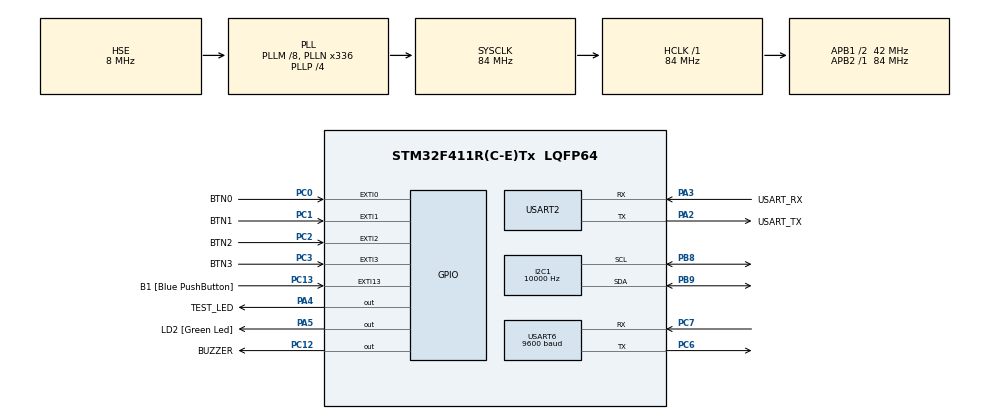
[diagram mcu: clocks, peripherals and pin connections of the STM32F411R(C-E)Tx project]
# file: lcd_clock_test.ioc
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I2C1.ClockSpeed=10000
Mcu.Family=STM32F4
Mcu.Name=STM32F411R(C-E)Tx
Mcu.Package=LQFP64
NVIC.EXTI0_IRQn=true\:0\:0\:true\:false\:true\:true\:true\:true
NVIC.EXTI1_IRQn=true\:0\:0\:true\:false\:true\:true\:true\:true
NVIC.EXTI2_IRQn=true\:0\:0\:true\:false\:true\:true\:true\:true
NVIC.EXTI3_IRQn=true\:0\:0\:true\:false\:true\:true\:true\:true
NVIC.PriorityGroup=NVIC_PRIORITYGROUP_0
NVIC.TIM3_IRQn=true\:0\:0\:true\:false\:true\:true\:true\:true
NVIC.USART6_IRQn=true\:0\:0\:false\:false\:true\:true\:true\:true
PA13.GPIO_Label=TMS
PA13.Mode=Serial_Wire
PA13.Signal=SYS_JTMS-SWDIO
PA14.GPIO_Label=TCK
PA14.Mode=Serial_Wire
PA14.Signal=SYS_JTCK-SWCLK
PA2.GPIO_Label=USART_TX
PA2.Mode=Asynchronous
PA2.Signal=USART2_TX
PA3.GPIO_Label=USART_RX
PA3.Mode=Asynchronous
PA3.Signal=USART2_RX
PA4.GPIO_Label=TEST_LED
PA4.Signal=GPIO_Output
PA5.GPIO_Label=LD2 [Green Led]
PA5.Signal=GPIO_Output
PB3.GPIO_Label=SWO
PB3.Signal=SYS_JTDO-SWO
PB8.Mode=I2C
PB8.Signal=I2C1_SCL
PB9.Mode=I2C
PB9.Signal=I2C1_SDA
PC0.GPIO_Label=BTN0
PC0.GPIO_PuPd=GPIO_PULLDOWN
PC0.Signal=GPXTI0
PC1.GPIO_Label=BTN1
PC1.GPIO_PuPd=GPIO_PULLDOWN
PC1.Signal=GPXTI1
PC12.GPIO_Label=BUZZER
PC12.Signal=GPIO_Output
PC13-ANTI_TAMP.GPIO_Label=B1 [Blue PushButton]
PC13-ANTI_TAMP.GPIO_ModeDefaultEXTI=GPIO_MODE_IT_FALLING
PC13-ANTI_TAMP.Signal=GPXTI13
PC14-OSC32_IN.Mode=LSE-External-Oscillator
PC14-OSC32_IN.Signal=RCC_OSC32_IN
PC15-OSC32_OUT.Mode=LSE-External-Oscillator
PC15-OSC32_OUT.Signal=RCC_OSC32_OUT
PC2.GPIO_Label=BTN2
PC2.GPIO_PuPd=GPIO_PULLDOWN
PC2.Signal=GPXTI2
PC3.GPIO_Label=BTN3
PC3.GPIO_PuPd=GPIO_PULLDOWN
PC3.Signal=GPXTI3
PC6.Mode=Asynchronous
PC6.Signal=USART6_TX
PC7.Mode=Asynchronous
PC7.Signal=USART6_RX
PH0\ -\ OSC_IN.Mode=HSE-External-Oscillator
PH0\ -\ OSC_IN.Signal=RCC_OSC_IN
PH1\ -\ OSC_OUT.Mode=HSE-External-Oscillator
PH1\ -\ OSC_OUT.Signal=RCC_OSC_OUT
ProjectManager.HeapSize=0x200
ProjectManager.StackSize=0x400
ProjectManager.TargetToolchain=STM32CubeIDE
RCC.48MHZClocksFreq_Value=84000000
RCC.AHBFreq_Value=84000000
RCC.APB1CLKDivider=RCC_HCLK_DIV2
RCC.APB1Freq_Value=42000000
RCC.APB1TimFreq_Value=84000000
RCC.APB2Freq_Value=84000000
RCC.APB2TimFreq_Value=84000000
RCC.CortexFreq_Value=84000000
RCC.FLatency-AdvancedSettings=FLASH_LATENCY_2
RCC.HCLKFreq_Value=84000000
RCC.HSE_VALUE=8000000
RCC.HSI_VALUE=16000000
RCC.PLLM=8
RCC.PLLN=336
RCC.PLLP=RCC_PLLP_DIV4
RCC.PLLSourceVirtual=RCC_PLLSOURCE_HSE
RCC.SYSCLKFreq_VALUE=84000000
RCC.SYSCLKSource=RCC_SYSCLKSOURCE_PLLCLK
RCC.VCOOutputFreq_Value=336000000
TIM3.AutoReloadPreload=TIM_AUTORELOAD_PRELOAD_ENABLE
TIM3.Period=1000-1
TIM3.Prescaler=84-1
USART2.VirtualMode=VM_ASYNC
USART6.BaudRate=9600
USART6.VirtualMode=VM_ASYNC
VP_TIM3_VS_ClockSourceINT.Mode=Internal
board=NUCLEO-F411RE

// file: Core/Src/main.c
/* USER CODE BEGIN Header */
/**
 * PORTC10 DHT11
 * PORTB8 I2C1 SCL
 * PORTB9 I2C1 SDA
 ******************************************************************************
 * @file           : main.c
 * @brief          : Main program body
 ******************************************************************************
 * @attention
 *
 * Copyright (c) 2024 STMicroelectronics.
 * All rights reserved.
 *
 * This software is licensed under terms that can be found in the LICENSE file
 * in the root directory of this software component.
 * If no LICENSE file comes with this software, it is provided AS-IS.
 *
 ******************************************************************************
 */
/* USER CODE END Header */
#include "main.h"

/* USER CODE BEGIN Includes */
#include <stdio.h>
#include <string.h>
#include <stdlib.h>
/* USER CODE END Includes */

/* USER CODE BEGIN PD */
#ifdef __GNUC__
/* With GCC, small printf (option LD Linker->Libraries->Small printf
 set to 'Yes') calls __io_putchar() */
#define PUTCHAR_PROTOTYPE int __io_putchar(int ch)
#else
#define PUTCHAR_PROTOTYPE int fputc(int ch, FILE *f)
#endif /* __GNUC__ */
#define ARR_CNT 6
#define CMD_SIZE 50
#define DEBOUNCE_TIME 200
/* USER CODE END PD */

I2C_HandleTypeDef hi2c1;

TIM_HandleTypeDef htim3;

UART_HandleTypeDef huart2;
UART_HandleTypeDef huart6;

/* USER CODE BEGIN PV */
typedef struct {
	int hour;
	int min;
	int sec;
	int msec;
	char *apm;
} ATIME;

ATIME dateTime = { 12, 0, 58, 0, "AM" };

ATIME setalarmtime = { 12, 0, 0, 0, "AM" };
int presec = 0;
__IO int updateTimeFlag = 1;
__IO unsigned int tim3Sec;
__IO unsigned int tim3Cnt;
__IO unsigned int tim3Cnthalf;
__IO int tim3Flag100ms = 0; // 100ms
__IO int tim3Flag1Sec = 0;
__IO int tim3Flag1half = 0;
int buttonState = 0;
int prebutState = 0;
void clock_calc(ATIME *dateTime);
void clock_calcdec(ATIME *decdateTime);

uint8_t rx2char;
volatile unsigned char rx2Flag = 0;
volatile char rx2Data[50];
volatile unsigned char btFlag = 0;
uint8_t btchar;
char btData[100];
/* USER CODE END PV */

void SystemClock_Config(void);
static void MX_GPIO_Init(void);
static void MX_I2C1_Init(void);
static void MX_TIM3_Init(void);
static void MX_USART6_UART_Init(void);
static void MX_USART2_UART_Init(void);
/* USER CODE BEGIN PFP */
void bluetooth_Event();
void ALARM_LED(ATIME *dateTime, ATIME *setalarmtime);
void LCD_TIMEDISPLAY(ATIME *dateTime, ATIME *setalarmtime);
void clock_set(ATIME *dateTime, ATIME *setalarmtime);
/* USER CODE END PFP */

/* USER CODE BEGIN 0 */
uint8_t keyNo = 0;
uint8_t modechange = 0;
char setalamduring[2] = { 0 };
char settimeduring[2] = { 0 };
char buff[30];
char setbuff[30];
char buf[100];
char message[CMD_SIZE]={0};
/* USER CODE END 0 */

int main(void)
{

  /* MCU Configuration--------------------------------------------------------*/

  /* Reset of all peripherals, Initializes the Flash interface and the Systick. */
  HAL_Init();

  /* Configure the system clock */
  SystemClock_Config();

  /* Initialize all configured peripherals */
  MX_GPIO_Init();
  MX_I2C1_Init();
  MX_TIM3_Init();
  MX_USART6_UART_Init();
  MX_USART2_UART_Init();
  /* USER CODE BEGIN 2 */
  HAL_UART_Receive_IT(&huart2, &rx2char,1);
  HAL_UART_Receive_IT(&huart6, &btchar,1);
  printf("start main - tim3()\r\n");
  /* USER CODE END 2 */

  /* Infinite loop */
  /* USER CODE BEGIN WHILE */
	while (1) {

		if (rx2Flag) {
			printf("recv2 : %s\r\n", rx2Data);
			rx2Flag = 0;
			//HAL_UART_Transmit(&huart6, (uint8_t*)"GETTIME\n", strlen(buf), 0xFFFF);
		}
		if (btFlag) {
			btFlag = 0;
			bluetooth_Event();
		}

		if (keyNo != 0) {
			printf("keyNo : %d\r\n", keyNo);

		}
		clock_set(&dateTime, &setalarmtime);

		if (tim3Flag1half) {
			tim3Flag1half = 0;
			HAL_GPIO_TogglePin(TEST_LED_GPIO_Port, TEST_LED_Pin);
//			printf("T %02d:%02d:%02d%s%s\r\n", dateTime.hour, dateTime.min,
//					dateTime.sec, settimeduring, dateTime.apm);
//			printf("A %02d:%02d:%02d%s%s\r\n\r\n", setalarmtime.hour,
//					setalarmtime.min, setalarmtime.sec, setalamduring,
//					setalarmtime.apm);

		}
		if (tim3Flag1Sec) {
			tim3Flag1Sec = 0;
			LCD_TIMEDISPLAY(&dateTime, &setalarmtime);

		}

		ALARM_LED(&dateTime, &setalarmtime);

	    if (updateTimeFlag)
	    {
		  sprintf(message, "[GETTIME]\n");
		  HAL_UART_Transmit(&huart6, (uint8_t*)message, strlen(message), 0xFFFF);
	      updateTimeFlag = 0;
	    }

    /* USER CODE END WHILE */

	}
}

void SystemClock_Config(void)
{
  RCC_OscInitTypeDef RCC_OscInitStruct = {0};
  RCC_ClkInitTypeDef RCC_ClkInitStruct = {0};

  /** Configure the main internal regulator output voltage
  */
  __HAL_RCC_PWR_CLK_ENABLE();
  __HAL_PWR_VOLTAGESCALING_CONFIG(PWR_REGULATOR_VOLTAGE_SCALE1);

  /** Initializes the RCC Oscillators according to the specified parameters
  * in the RCC_OscInitTypeDef structure.
  */
  RCC_OscInitStruct.OscillatorType = RCC_OSCILLATORTYPE_HSE;
  RCC_OscInitStruct.HSEState = RCC_HSE_ON;
  RCC_OscInitStruct.PLL.PLLState = RCC_PLL_ON;
  RCC_OscInitStruct.PLL.PLLSource = RCC_PLLSOURCE_HSE;
  RCC_OscInitStruct.PLL.PLLM = 8;
  RCC_OscInitStruct.PLL.PLLN = 336;
  RCC_OscInitStruct.PLL.PLLP = RCC_PLLP_DIV4;
  RCC_OscInitStruct.PLL.PLLQ = 4;
  if (HAL_RCC_OscConfig(&RCC_OscInitStruct) != HAL_OK)
  {
    Error_Handler();
  }

  /** Initializes the CPU, AHB and APB buses clocks
  */
  RCC_ClkInitStruct.ClockType = RCC_CLOCKTYPE_HCLK|RCC_CLOCKTYPE_SYSCLK
                              |RCC_CLOCKTYPE_PCLK1|RCC_CLOCKTYPE_PCLK2;
  RCC_ClkInitStruct.SYSCLKSource = RCC_SYSCLKSOURCE_PLLCLK;
  RCC_ClkInitStruct.AHBCLKDivider = RCC_SYSCLK_DIV1;
  RCC_ClkInitStruct.APB1CLKDivider = RCC_HCLK_DIV2;
  RCC_ClkInitStruct.APB2CLKDivider = RCC_HCLK_DIV1;

  if (HAL_RCC_ClockConfig(&RCC_ClkInitStruct, FLASH_LATENCY_2) != HAL_OK)
  {
    Error_Handler();
  }
}

static void MX_I2C1_Init(void)
{

  hi2c1.Instance = I2C1;
  hi2c1.Init.ClockSpeed = 10000;
  hi2c1.Init.DutyCycle = I2C_DUTYCYCLE_2;
  hi2c1.Init.OwnAddress1 = 0;
  hi2c1.Init.AddressingMode = I2C_ADDRESSINGMODE_7BIT;
  hi2c1.Init.DualAddressMode = I2C_DUALADDRESS_DISABLE;
  hi2c1.Init.OwnAddress2 = 0;
  hi2c1.Init.GeneralCallMode = I2C_GENERALCALL_DISABLE;
  hi2c1.Init.NoStretchMode = I2C_NOSTRETCH_DISABLE;
  if (HAL_I2C_Init(&hi2c1) != HAL_OK)
  {
    Error_Handler();
  }

}

static void MX_TIM3_Init(void)
{

  TIM_ClockConfigTypeDef sClockSourceConfig = {0};
  TIM_MasterConfigTypeDef sMasterConfig = {0};

  htim3.Instance = TIM3;
  htim3.Init.Prescaler = 84-1;
  htim3.Init.CounterMode = TIM_COUNTERMODE_UP;
  htim3.Init.Period = 1000-1;
  htim3.Init.ClockDivision = TIM_CLOCKDIVISION_DIV1;
  htim3.Init.AutoReloadPreload = TIM_AUTORELOAD_PRELOAD_ENABLE;
  if (HAL_TIM_Base_Init(&htim3) != HAL_OK)
  {
    Error_Handler();
  }
  sClockSourceConfig.ClockSource = TIM_CLOCKSOURCE_INTERNAL;
  if (HAL_TIM_ConfigClockSource(&htim3, &sClockSourceConfig) != HAL_OK)
  {
    Error_Handler();
  }
  sMasterConfig.MasterOutputTrigger = TIM_TRGO_RESET;
  sMasterConfig.MasterSlaveMode = TIM_MASTERSLAVEMODE_DISABLE;
  if (HAL_TIMEx_MasterConfigSynchronization(&htim3, &sMasterConfig) != HAL_OK)
  {
    Error_Handler();
  }

}

static void MX_USART2_UART_Init(void)
{

  huart2.Instance = USART2;
  huart2.Init.BaudRate = 115200;
  huart2.Init.WordLength = UART_WORDLENGTH_8B;
  huart2.Init.StopBits = UART_STOPBITS_1;
  huart2.Init.Parity = UART_PARITY_NONE;
  huart2.Init.Mode = UART_MODE_TX_RX;
  huart2.Init.HwFlowCtl = UART_HWCONTROL_NONE;
  huart2.Init.OverSampling = UART_OVERSAMPLING_16;
  if (HAL_UART_Init(&huart2) != HAL_OK)
  {
    Error_Handler();
  }

}

static void MX_USART6_UART_Init(void)
{

  huart6.Instance = USART6;
  huart6.Init.BaudRate = 9600;
  huart6.Init.WordLength = UART_WORDLENGTH_8B;
  huart6.Init.StopBits = UART_STOPBITS_1;
  huart6.Init.Parity = UART_PARITY_NONE;
  huart6.Init.Mode = UART_MODE_TX_RX;
  huart6.Init.HwFlowCtl = UART_HWCONTROL_NONE;
  huart6.Init.OverSampling = UART_OVERSAMPLING_16;
  if (HAL_UART_Init(&huart6) != HAL_OK)
  {
    Error_Handler();
  }

}

static void MX_GPIO_Init(void)
{
  GPIO_InitTypeDef GPIO_InitStruct = {0};

  /* GPIO Ports Clock Enable */
  __HAL_RCC_GPIOC_CLK_ENABLE();
  __HAL_RCC_GPIOH_CLK_ENABLE();
  __HAL_RCC_GPIOA_CLK_ENABLE();
  __HAL_RCC_GPIOB_CLK_ENABLE();

  /*Configure GPIO pin Output Level */
  HAL_GPIO_WritePin(GPIOA, TEST_LED_Pin|LD2_Pin, GPIO_PIN_RESET);

  /*Configure GPIO pin Output Level */
  HAL_GPIO_WritePin(BUZZER_GPIO_Port, BUZZER_Pin, GPIO_PIN_RESET);

  /*Configure GPIO pin : B1_Pin */
  GPIO_InitStruct.Pin = B1_Pin;
  GPIO_InitStruct.Mode = GPIO_MODE_IT_FALLING;
  GPIO_InitStruct.Pull = GPIO_NOPULL;
  HAL_GPIO_Init(B1_GPIO_Port, &GPIO_InitStruct);

  /*Configure GPIO pins : BTN0_Pin BTN1_Pin BTN2_Pin BTN3_Pin */
  GPIO_InitStruct.Pin = BTN0_Pin|BTN1_Pin|BTN2_Pin|BTN3_Pin;
  GPIO_InitStruct.Mode = GPIO_MODE_IT_RISING;
  GPIO_InitStruct.Pull = GPIO_PULLDOWN;
  HAL_GPIO_Init(GPIOC, &GPIO_InitStruct);

  /*Configure GPIO pins : TEST_LED_Pin LD2_Pin */
  GPIO_InitStruct.Pin = TEST_LED_Pin|LD2_Pin;
  GPIO_InitStruct.Mode = GPIO_MODE_OUTPUT_PP;
  GPIO_InitStruct.Pull = GPIO_NOPULL;
  GPIO_InitStruct.Speed = GPIO_SPEED_FREQ_LOW;
  HAL_GPIO_Init(GPIOA, &GPIO_InitStruct);

  /*Configure GPIO pin : BUZZER_Pin */
  GPIO_InitStruct.Pin = BUZZER_Pin;
  GPIO_InitStruct.Mode = GPIO_MODE_OUTPUT_PP;
  GPIO_InitStruct.Pull = GPIO_NOPULL;
  GPIO_InitStruct.Speed = GPIO_SPEED_FREQ_LOW;
  HAL_GPIO_Init(BUZZER_GPIO_Port, &GPIO_InitStruct);

  /* EXTI interrupt init*/
  HAL_NVIC_SetPriority(EXTI0_IRQn, 0, 0);
  HAL_NVIC_EnableIRQ(EXTI0_IRQn);

  HAL_NVIC_SetPriority(EXTI1_IRQn, 0, 0);
  HAL_NVIC_EnableIRQ(EXTI1_IRQn);

  HAL_NVIC_SetPriority(EXTI2_IRQn, 0, 0);
  HAL_NVIC_EnableIRQ(EXTI2_IRQn);

  HAL_NVIC_SetPriority(EXTI3_IRQn, 0, 0);
  HAL_NVIC_EnableIRQ(EXTI3_IRQn);

}

/* USER CODE BEGIN 4 */
void bluetooth_Event()
{

  int i=0;
  char * pToken;
  char * pArray[ARR_CNT]={0};
  char recvBuf[CMD_SIZE]={0};
  char sendBuf[CMD_SIZE]={0};
  strcpy(recvBuf,btData);

  printf("btData : %s\r\n",btData);

  pToken = strtok(recvBuf,"[@]");
  while(pToken != NULL)
  {
    pArray[i] =  pToken;
    if(++i >= ARR_CNT)
      break;
    pToken = strtok(NULL,"[@]");

  }
  if(!strcmp(pArray[0],"GETTIME")) {  //GETTIME
	  printf("enter GETTIME strcmp\r\n");
    dateTime.hour = (pArray[1][0]-0x30) * 10 + pArray[1][1]-0x30 ;
    dateTime.min =  (pArray[1][3]-0x30) * 10 + pArray[1][4]-0x30 ;
    dateTime.sec =  (pArray[1][6]-0x30) * 10 + pArray[1][7]-0x30 ;
  }

  if(!strncmp(pArray[1]," New conn",sizeof(" New conn")))
  {
	  updateTimeFlag = 1;
      return;
  }
  else if(!strncmp(pArray[1]," Already log",sizeof(" Already log")))
  {
      return;
  }
  else
      return;

	HAL_UART_Transmit(&huart6, (uint8_t*) sendBuf, strlen(sendBuf), 0xFFFF);

}
/**
 * @brief  Retargets the C library printf function to the USART.
 * @param  None
 * @retval None
 */
PUTCHAR_PROTOTYPE {
	/* Place your implementation of fputc here */
	/* e.g. write a character to the USART6 and Loop until the end of transmission */
	HAL_UART_Transmit(&huart2, (uint8_t*) &ch, 1, 0xFFFF);

	return ch;
}
void clock_set(ATIME *dateTime, ATIME *setalarmtime) {
	if (keyNo == 4) {
		modechange = (modechange + 1) % 3;
		printf("modechange : %d\r\n", modechange);
	}
	if (modechange == 1) {

		if (keyNo == 1) {
			setalarmtime->hour++;
			printf("alarm hour++\r\n");
			if (setalarmtime->hour >= 13) {
				setalarmtime->apm = ((setalarmtime->apm == "AM") ? "PM" : "AM");
				setalarmtime->hour = 0;
			}
		} else if (keyNo == 2) {
			setalarmtime->min++;
			printf("alarm min++\r\n");
			if (setalarmtime->min >= 60) {
				setalarmtime->min = 0;
			}
		} else if (keyNo == 3) {
			setalarmtime->sec++;
			printf("alarm sec++\r\n");
			if (setalarmtime->sec >= 60) {
				setalarmtime->sec = 0;
			}
		}
	} else if (modechange == 2) {

		if (keyNo == 1) {
			dateTime->hour++;
			printf("date hour++\r\n");
			if (dateTime->hour >= 13) {
				dateTime->apm = ((dateTime->apm == "AM") ? "PM" : "AM");
				dateTime->hour = 0;
			}
		} else if (keyNo == 2) {
			dateTime->min++;
			if (dateTime->min >= 60) {
				printf("date min++\r\n");
				dateTime->min = 0;
			}
		} else if (keyNo == 3) {
			dateTime->sec++;
			if (dateTime->sec >= 60) {
				printf("date sec++\r\n");
				dateTime->sec = 0;
			}
		}
	} else {
		strcpy(setalamduring, " ");
		strcpy(settimeduring, " ");
	}
	keyNo = 0;
}
void LCD_TIMEDISPLAY(ATIME *dateTime, ATIME *setalarmtime) {
	if (modechange == 2) {
		strcpy(setalamduring, " ");
		strcpy(settimeduring, "*");
	} else if (modechange == 1) {
		strcpy(setalamduring, "*");
		strcpy(settimeduring, " ");
	} else {
		strcpy(setalamduring, " ");
		strcpy(settimeduring, " ");
	}
	sprintf(buff, "T %02d:%02d:%02d%s%s", dateTime->hour, dateTime->min,
			dateTime->sec, settimeduring, dateTime->apm);
	sprintf(setbuff, "A %02d:%02d:%02d%s%s", setalarmtime->hour,
			setalarmtime->min, setalarmtime->sec, setalamduring,
			setalarmtime->apm);

	LCD_writeStringXY(0, 0, buff);
	LCD_writeStringXY(1, 0, setbuff);
	presec = dateTime->sec;
}
void ALARM_LED(ATIME *dateTime, ATIME *setalarmtime) {
	if (modechange == 0 && dateTime->hour == setalarmtime->hour
			&& dateTime->min == setalarmtime->min
			&& !strcmp(dateTime->apm, setalarmtime->apm)) {
		HAL_GPIO_TogglePin(BUZZER_GPIO_Port, BUZZER_Pin);
	} else {
		HAL_GPIO_WritePin(BUZZER_GPIO_Port, BUZZER_Pin, 0);
	}
}
void HAL_GPIO_EXTI_Callback(uint16_t GPIO_Pin) {
	switch (GPIO_Pin) {
	case BTN0_Pin:
		keyNo = 1;
		break;
	case BTN1_Pin:
		keyNo = 2;
		break;
	case BTN2_Pin:
		keyNo = 3;
		break;
	case BTN3_Pin:
		keyNo = 4;
		break;
	}
}
void HAL_UART_RxCpltCallback(UART_HandleTypeDef *huart)
{
    if(huart->Instance == USART2)
    {
    	static int i=0;
    	rx2Data[i] = rx2char;
    	if((rx2Data[i] == '\r')||(btData[i] == '\n'))
    	{
    		rx2Data[i] = '\0';
    		rx2Flag = 1;
    		i = 0;
    	}
    	else
    	{
    		i++;
    	}
    	HAL_UART_Receive_IT(&huart2, &rx2char,1);
    }
    if(huart->Instance == USART6)
    {
    	static int i=0;
    	btData[i] = btchar;
    	if((btData[i] == '\n') || btData[i] == '\r')
    	{
    		btData[i] = '\0';
    		btFlag = 1;
    		i = 0;
    	}
    	else
    	{
    		i++;
    	}
    	HAL_UART_Receive_IT(&huart6, &btchar,1);
    }
}
void HAL_TIM_PeriodElapsedCallback(TIM_HandleTypeDef *htim) {

	tim3Cnt++;
	if (!(tim3Cnt % 100)) {
		clock_calc(&dateTime);
		if (!(tim3Cnt % 500)) {
			tim3Flag1half = 1;
			if (tim3Cnt >= 1000) {
				tim3Flag1Sec = 1;
				tim3Cnt = 0;
			}

		}
	}

}

void clock_calc(ATIME *dateTime) {
	dateTime->msec++;	// increment second
	if (dateTime->msec >= 10) {
		dateTime->msec = 0;
		dateTime->sec++;
		if (dateTime->sec >= 60)                   // if second = 60, second = 0
				{
			dateTime->sec = 0;
			dateTime->min++;

			if (dateTime->min >= 60)               // if minute = 60, minute = 0
					{
				dateTime->min = 0;
				dateTime->hour++;                              // increment hour
				if (dateTime->hour >= 13) {
					dateTime->apm = ((dateTime->apm == "AM") ? "PM" : "AM");
					dateTime->hour = 0;
//            updateTimeFlag = true;
				}
			}
		}
	}
}
/* USER CODE END 4 */

void Error_Handler(void)
{
	__disable_irq();
	while (1) {
	}
}
